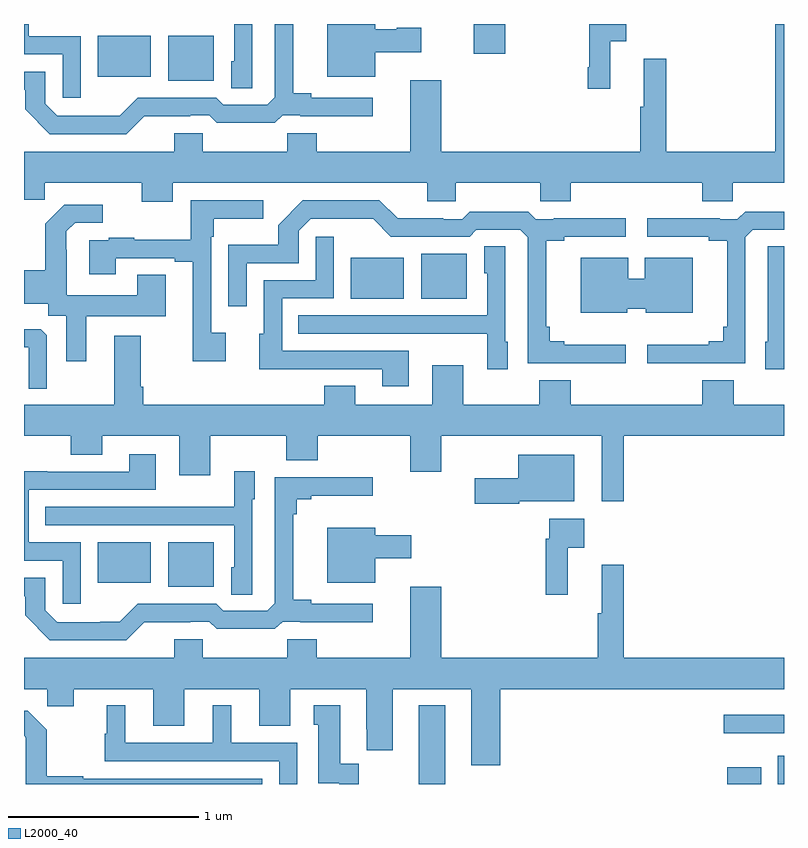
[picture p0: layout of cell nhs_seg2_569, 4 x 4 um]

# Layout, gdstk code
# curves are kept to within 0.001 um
import gdstk
lib = gdstk.Library(unit=1e-6, precision=1e-09)
def R(c, l, rs):  # rectangles x0, y0, x1, y1
    for r in rs: c.add(gdstk.rectangle(r[:2], r[2:], *l))
def P(c, l, *ps):  # polygons
    for p in ps: c.add(gdstk.Polygon(p, *l))
L2000_40 = (2000, 40)

nhs_seg2_569 = lib.new_cell('nhs_seg2_569')
R(nhs_seg2_569, L2000_40, [(141.077,649.8,141.217,650.215), (142.7,649.8,142.879,649.888), (142.967,649.8,143,649.948), (142.683,650.067,143,650.164), (139.76,650.837,139.999,651.073), (139.388,650.858,139.666,651.073), (140.72,652.355,140.998,652.57), (141.092,652.355,141.331,652.591), (139.76,653.501,139.999,653.737), (139.388,653.522,139.666,653.737), (141.368,653.643,141.534,653.8)])
P(nhs_seg2_569, L2000_40, [(139.634,653.315),(139.874,653.315),(139.874,653.319),(139.974,653.319),(140.014,653.28),(140.321,653.28),(140.361,653.319),(140.455,653.319),(140.455,653.315),(140.836,653.315),(140.836,653.412),(140.512,653.412),(140.512,653.435),(140.417,653.435),(140.417,653.8),(140.319,653.8),(140.319,653.415),(140.28,653.376),(140.049,653.376),(140.013,653.412),(139.599,653.412),(139.505,653.318),(139.4,653.318),(139.4,653.316),(139.176,653.316),(139.113,653.379),(139.113,653.55),(139,653.55),(139,653.453),(139.006,653.453),(139.006,653.351),(139.136,653.22),(139.539,653.22)],
  [(139.783,652.964),(141.122,652.964),(141.122,652.866),(141.273,652.866),(141.273,652.964),(141.718,652.964),(141.718,652.866),(141.878,652.866),(141.878,652.964),(142.571,652.964),(142.571,652.866),(142.731,652.866),(142.731,652.964),(143,652.964),(143,653.8),(142.955,653.8),(142.955,653.128),(142.379,653.128),(142.379,653.617),(142.262,653.617),(142.262,653.364),(142.243,653.364),(142.243,653.128),(141.196,653.128),(141.196,653.503),(141.032,653.503),(141.032,653.128),(140.541,653.128),(140.541,653.226),(140.386,653.226),(140.386,653.128),(139.941,653.128),(139.941,653.226),(139.79,653.226),(139.79,653.128),(139,653.128),(139,652.874),(139.109,652.874),(139.109,652.964),(139.619,652.964),(139.619,652.865),(139.783,652.865)],
  [(139.299,653.736),(139.026,653.736),(139.026,653.8),(139,653.8),(139,653.64),(139.203,653.64),(139.203,653.412),(139.299,653.412)],
  [(140.202,653.8),(140.106,653.8),(140.106,653.604),(140.09,653.604),(140.09,653.461),(140.202,653.461)],
  [(142.085,653.708),(142.171,653.708),(142.171,653.8),(141.975,653.8),(141.975,653.572),(141.967,653.572),(141.967,653.46),(142.085,653.46)],
  [(140.848,653.651),(141.091,653.651),(141.091,653.781),(140.961,653.781),(140.961,653.773),(140.848,653.773),(140.848,653.8),(140.597,653.8),(140.597,653.522),(140.848,653.522)],
  [(142.168,652.111),(141.844,652.111),(141.844,652.13),(141.767,652.13),(141.767,652.207),(141.749,652.207),(141.749,652.658),(141.844,652.658),(141.844,652.68),(142.168,652.68),(142.168,652.778),(141.787,652.778),(141.787,652.773),(141.693,652.773),(141.653,652.813),(141.346,652.813),(141.306,652.773),(141.206,652.773),(141.206,652.778),(140.966,652.778),(140.871,652.872),(140.468,652.872),(140.338,652.742),(140.338,652.639),(140.076,652.639),(140.076,652.314),(140.172,652.314),(140.172,652.542),(140.445,652.542),(140.445,652.713),(140.508,652.776),(140.837,652.775),(140.931,652.68),(141.345,652.68),(141.381,652.716),(141.612,652.716),(141.651,652.677),(141.651,652.014),(142.168,652.014)],
  [(140.062,652.174),(139.986,652.174),(139.986,652.679),(139.999,652.679),(139.999,652.775),(140.26,652.775),(140.26,652.872),(139.878,652.872),(139.878,652.664),(139.579,652.664),(139.579,652.675),(139.447,652.675),(139.447,652.662),(139.343,652.662),(139.343,652.482),(139.483,652.482),(139.483,652.566),(139.793,652.566),(139.793,652.548),(139.889,652.548),(139.889,652.026),(140.062,652.026)],
  [(139.327,652.262),(139.747,652.262),(139.747,652.481),(139.595,652.481),(139.595,652.372),(139.224,652.372),(139.224,652.613),(139.222,652.613),(139.222,652.708),(139.269,652.755),(139.414,652.755),(139.414,652.849),(139.213,652.849),(139.113,652.749),(139.113,652.504),(139,652.504),(139,652.328),(139.128,652.328),(139.128,652.264),(139.223,652.264),(139.223,652.026),(139.327,652.026)],
  [(142.797,652.677),(142.836,652.716),(143,652.716),(143,652.813),(142.795,652.813),(142.755,652.773),(142.661,652.773),(142.661,652.778),(142.281,652.778),(142.281,652.68),(142.604,652.68),(142.604,652.658),(142.7,652.658),(142.7,652.207),(142.681,652.207),(142.681,652.13),(142.604,652.13),(142.604,652.111),(142.281,652.111),(142.281,652.014),(142.797,652.014)],
  [(141.025,652.08),(140.358,652.08),(140.358,652.356),(140.631,652.356),(140.631,652.681),(140.535,652.681),(140.535,652.452),(140.262,652.452),(140.262,652.17),(140.237,652.17),(140.237,651.983),(140.455,651.983),(140.455,651.984),(140.885,651.984),(140.885,651.894),(141.025,651.894)],
  [(141.547,652.128),(141.534,652.128),(141.534,652.631),(141.422,652.631),(141.422,652.488),(141.438,652.488),(141.438,652.266),(140.443,652.266),(140.443,652.17),(141.121,652.17),(141.121,652.169),(141.438,652.169),(141.438,651.984),(141.547,651.984)],
  [(143,652.631),(142.914,652.631),(142.914,652.128),(142.901,652.128),(142.901,651.984),(143,651.984)],
  [(142.176,652.301),(142.272,652.301),(142.272,652.28),(142.519,652.28),(142.519,652.57),(142.268,652.57),(142.268,652.459),(142.18,652.459),(142.18,652.57),(141.929,652.57),(141.929,652.28),(142.176,652.28)],
  [(139.119,652.161),(139.087,652.193),(139,652.193),(139,652.098),(139.026,652.098),(139.026,651.881),(139.119,651.881)],
  [(142.157,651.632),(143,651.632),(143,651.796),(142.735,651.796),(142.735,651.925),(142.571,651.925),(142.571,651.796),(141.877,651.796),(141.877,651.925),(141.713,651.925),(141.713,651.796),(141.313,651.796),(141.313,652.003),(141.149,652.003),(141.149,651.796),(140.743,651.796),(140.743,651.895),(140.579,651.895),(140.579,651.796),(139.628,651.796),(139.628,651.892),(139.615,651.892),(139.615,652.159),(139.475,652.159),(139.475,651.796),(139,651.796),(139,651.632),(139.247,651.632),(139.247,651.533),(139.411,651.533),(139.411,651.632),(139.817,651.632),(139.817,651.426),(139.981,651.426),(139.981,651.632),(140.381,651.632),(140.381,651.504),(140.545,651.504),(140.545,651.632),(141.032,651.632),(141.032,651.444),(141.196,651.444),(141.196,651.632),(142.04,651.632),(142.04,651.288),(142.157,651.288)],
  [(139.299,651.072),(139.026,651.072),(139.026,651.348),(139.693,651.348),(139.693,651.535),(139.553,651.535),(139.553,651.444),(139.123,651.444),(139.123,651.446),(139,651.446),(139,650.976),(139.203,650.976),(139.203,650.748),(139.299,650.748)],
  [(141.606,651.287),(141.895,651.287),(141.895,651.532),(141.602,651.532),(141.602,651.409),(141.372,651.409),(141.372,651.275),(141.606,651.275)],
  [(140.202,651.3),(140.215,651.3),(140.215,651.445),(140.106,651.445),(140.106,651.259),(139.789,651.259),(139.789,651.258),(139.111,651.258),(139.111,651.162),(140.106,651.162),(140.106,650.94),(140.09,650.94),(140.09,650.797),(140.202,650.797)],
  [(139.634,650.651),(139.874,650.651),(139.874,650.655),(139.974,650.655),(140.014,650.616),(140.321,650.616),(140.361,650.655),(140.455,650.655),(140.455,650.651),(140.836,650.651),(140.836,650.748),(140.512,650.748),(140.512,650.771),(140.417,650.771),(140.417,651.221),(140.435,651.221),(140.435,651.298),(140.512,651.298),(140.512,651.317),(140.836,651.317),(140.836,651.414),(140.319,651.414),(140.319,650.751),(140.28,650.712),(140.049,650.712),(140.013,650.748),(139.599,650.748),(139.505,650.654),(139.4,650.654),(139.4,650.652),(139.176,650.652),(139.113,650.715),(139.113,650.886),(139,650.886),(139,650.789),(139.006,650.789),(139.006,650.687),(139.136,650.556),(139.539,650.556)],
  [(141.863,651.044),(141.949,651.044),(141.949,651.196),(141.765,651.196),(141.765,651.092),(141.745,651.092),(141.745,650.796),(141.863,650.796)],
  [(140.848,650.987),(141.037,650.987),(141.037,651.109),(140.848,651.109),(140.848,651.148),(140.597,651.148),(140.597,650.858),(140.848,650.858)],
  [(141.506,650.3),(143,650.3),(143,650.464),(142.157,650.464),(142.157,650.953),(142.04,650.953),(142.04,650.7),(142.021,650.7),(142.021,650.464),(141.196,650.464),(141.196,650.839),(141.032,650.839),(141.032,650.464),(140.541,650.464),(140.541,650.562),(140.386,650.562),(140.386,650.464),(139.941,650.464),(139.941,650.562),(139.79,650.562),(139.79,650.464),(139,650.464),(139,650.3),(139.123,650.3),(139.123,650.21),(139.261,650.21),(139.261,650.3),(139.679,650.3),(139.679,650.106),(139.843,650.106),(139.843,650.3),(140.237,650.3),(140.237,650.106),(140.401,650.106),(140.401,650.3),(140.801,650.3),(140.801,650.089),(140.804,650.089),(140.804,649.977),(140.941,649.977),(140.941,650.3),(141.353,650.3),(141.353,649.899),(141.506,649.899)],
  [(140.439,650.016),(140.092,650.016),(140.092,650.215),(139.994,650.215),(139.994,650.016),(139.534,650.016),(139.534,650.215),(139.436,650.215),(139.436,650.064),(139.425,650.064),(139.425,649.92),(140.343,649.92),(140.343,649.8),(140.439,649.8)],
  [(140.763,649.907),(140.665,649.907),(140.665,650.215),(140.525,650.215),(140.525,650.112),(140.549,650.112),(140.549,649.803),(140.658,649.803),(140.658,649.8),(140.763,649.8)],
  [(140.254,649.827),(139.311,649.827),(139.311,649.84),(139.119,649.84),(139.119,650.085),(139.019,650.185),(139,650.185),(139,650.054),(139.01,650.044),(139.01,649.949),(139.008,649.949),(139.008,649.8),(140.254,649.8)])

lib.write_gds('nhs_seg2_569.gds')
